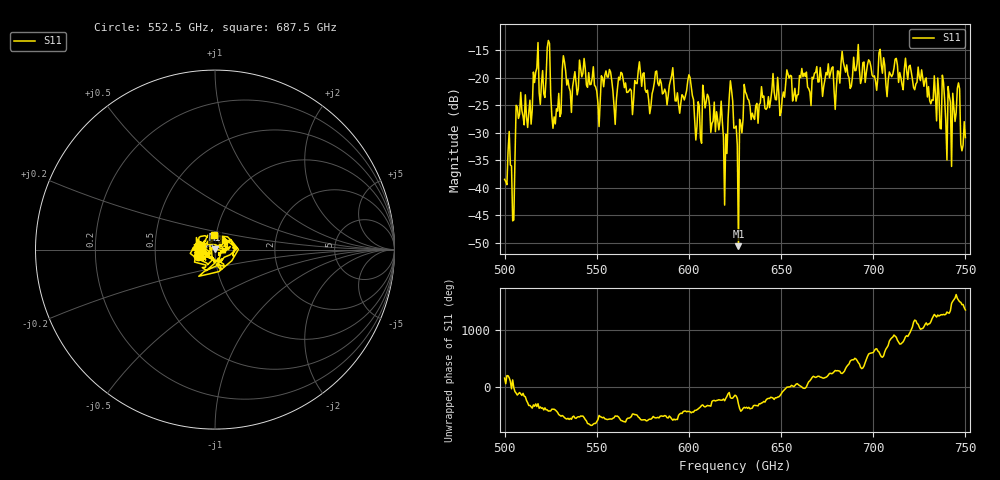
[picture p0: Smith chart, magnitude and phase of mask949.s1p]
!Created with skrf (http://scikit-rf.org).
# GHz S MA R 50.0
!freq magS11 angS11
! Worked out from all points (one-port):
!   401 points, 500 GHz to 750 GHz, reference 50 ohm
!   lowest |S11| = -50.7 dB at 626.9 GHz (marker M1), VSWR 1.01, Z = 50.1 + j0.273 ohm
!   |S11| at or under -10 dB: start of sweep to end of sweep
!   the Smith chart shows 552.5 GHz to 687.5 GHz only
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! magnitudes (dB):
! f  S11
! 500 GHz  -38.5
! 502.5 GHz  -29.8
! 504.4 GHz  -46.1
! 507.5 GHz  -27.4
! 513.8 GHz  -24.1
! 516.9 GHz  -19.0
! 520.6 GHz  -18.7
! 523.8 GHz  -13.2
! 526.9 GHz  -27.1
! 531.2 GHz  -18.6
! 556.2 GHz  -19.9
! 560 GHz  -28.5
! 562.5 GHz  -20.4
! 593.8 GHz  -22.8
! 600.6 GHz  -20.0
! 605.6 GHz  -25.2
! 608.8 GHz  -25.5
! 619.4 GHz  -43.2
! 622.5 GHz  -20.6
! 625 GHz  -29.1
! 626.9 GHz  -50.7
! 631.2 GHz  -23.1
! 656.2 GHz  -24.3
! 687.5 GHz  -22.0
! 718.8 GHz  -20.3
! 741.2 GHz  -23.3
! 745.6 GHz  -21.9
! 750 GHz  -30.9
